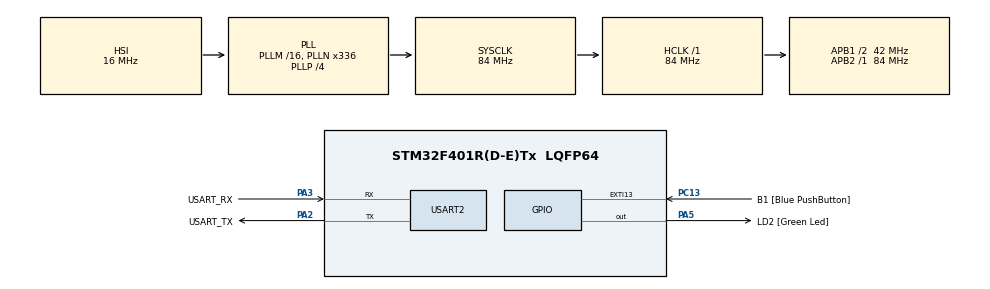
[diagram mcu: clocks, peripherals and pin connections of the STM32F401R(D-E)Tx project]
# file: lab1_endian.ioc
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Mcu.Family=STM32F4
Mcu.Name=STM32F401R(D-E)Tx
Mcu.Package=LQFP64
NVIC.PriorityGroup=NVIC_PRIORITYGROUP_0
PA13.GPIO_Label=TMS
PA13.Mode=Serial_Wire
PA13.Signal=SYS_JTMS-SWDIO
PA14.GPIO_Label=TCK
PA14.Mode=Serial_Wire
PA14.Signal=SYS_JTCK-SWCLK
PA2.GPIO_Label=USART_TX
PA2.GPIO_Mode=GPIO_MODE_AF_PP
PA2.GPIO_PuPd=GPIO_NOPULL
PA2.GPIO_Speed=GPIO_SPEED_FREQ_LOW
PA2.Mode=Asynchronous
PA2.Signal=USART2_TX
PA3.GPIO_Label=USART_RX
PA3.GPIO_Mode=GPIO_MODE_AF_PP
PA3.GPIO_PuPd=GPIO_NOPULL
PA3.GPIO_Speed=GPIO_SPEED_FREQ_LOW
PA3.Mode=Asynchronous
PA3.Signal=USART2_RX
PA5.GPIO_Label=LD2 [Green Led]
PA5.GPIO_Mode=GPIO_MODE_OUTPUT_PP
PA5.GPIO_PuPd=GPIO_NOPULL
PA5.GPIO_Speed=GPIO_SPEED_FREQ_LOW
PA5.Signal=GPIO_Output
PB3.GPIO_Label=SWO
PB3.Signal=SYS_JTDO-SWO
PC13-ANTI_TAMP.GPIO_Label=B1 [Blue PushButton]
PC13-ANTI_TAMP.GPIO_ModeDefaultEXTI=GPIO_MODE_IT_FALLING
PC13-ANTI_TAMP.GPIO_PuPd=GPIO_NOPULL
PC13-ANTI_TAMP.Signal=GPXTI13
PC14-OSC32_IN.Mode=LSE-External-Oscillator
PC14-OSC32_IN.Signal=RCC_OSC32_IN
PC15-OSC32_OUT.Mode=LSE-External-Oscillator
PC15-OSC32_OUT.Signal=RCC_OSC32_OUT
PH0\ -\ OSC_IN.Mode=HSE-External-Clock-Source
PH0\ -\ OSC_IN.Signal=RCC_OSC_IN
PH1\ -\ OSC_OUT.Mode=HSE-External-Clock-Source
PH1\ -\ OSC_OUT.Signal=RCC_OSC_OUT
ProjectManager.HeapSize=0x200
ProjectManager.StackSize=0x400
ProjectManager.TargetToolchain=STM32CubeIDE
RCC.48MHZClocksFreq_Value=48000000
RCC.AHBFreq_Value=84000000
RCC.APB1CLKDivider=RCC_HCLK_DIV2
RCC.APB1Freq_Value=42000000
RCC.APB1TimFreq_Value=84000000
RCC.APB2Freq_Value=84000000
RCC.APB2TimFreq_Value=84000000
RCC.CortexFreq_Value=84000000
RCC.HCLKFreq_Value=84000000
RCC.HSE_VALUE=8000000
RCC.HSI_VALUE=16000000
RCC.PLLN=336
RCC.PLLP=RCC_PLLP_DIV4
RCC.PLLQ=7
RCC.SYSCLKFreq_VALUE=84000000
RCC.SYSCLKSource=RCC_SYSCLKSOURCE_PLLCLK
RCC.VCOOutputFreq_Value=336000000
USART2.VirtualMode=VM_ASYNC
board=NUCLEO-F401RE

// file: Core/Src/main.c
/* USER CODE BEGIN Header */
/**
  ******************************************************************************
  * @file           : main.c
  * @brief          : Main program body
  ******************************************************************************
  * @attention
  *
  * Copyright (c) 2024 STMicroelectronics.
  * All rights reserved.
  *
  * This software is licensed under terms that can be found in the LICENSE file
  * in the root directory of this software component.
  * If no LICENSE file comes with this software, it is provided AS-IS.
  *
  ******************************************************************************
  */
/* USER CODE END Header */
#include "main.h"

UART_HandleTypeDef huart2;

void SystemClock_Config(void);
static void MX_GPIO_Init(void);
static void MX_USART2_UART_Init(void);
void test_endianness();

/* USER CODE BEGIN 0 */
uint32_t arr[10];

void test_endianness()
{
	for(int i = 0; i < 10; i+=2)
	{
		arr[i + 0] = 0xDEADBEEF;
		arr[i + 1] = 0xCAFED00D;
	}

	uint16_t a = arr[0];
	uint16_t b = arr[1];
	uint16_t c = arr[2];

	uint8_t x = arr[0];
	uint8_t y = arr[1];

	uint8_t *arr8 = (uint8_t *) arr;

	uint8_t p = arr8[0];
	uint8_t q = arr8[1];
	uint8_t r = arr8[2];
	uint8_t s = arr8[3];
	uint8_t t = arr8[4];

	uint16_t babe = 0xBABE;
	arr[0] = babe;

	return;
}
/* USER CODE END 0 */

int main(void)
{

  /* MCU Configuration--------------------------------------------------------*/

  /* Reset of all peripherals, Initializes the Flash interface and the Systick. */
  HAL_Init();

  /* Configure the system clock */
  SystemClock_Config();

  /* Initialize all configured peripherals */
  MX_GPIO_Init();
  MX_USART2_UART_Init();

  /* Infinite loop */
  /* USER CODE BEGIN WHILE */

test_endianness();

  while (1)
  {
    /* USER CODE END WHILE */

  }
}

void SystemClock_Config(void)
{
  RCC_OscInitTypeDef RCC_OscInitStruct = {0};
  RCC_ClkInitTypeDef RCC_ClkInitStruct = {0};

  /** Configure the main internal regulator output voltage
  */
  __HAL_RCC_PWR_CLK_ENABLE();
  __HAL_PWR_VOLTAGESCALING_CONFIG(PWR_REGULATOR_VOLTAGE_SCALE2);

  /** Initializes the RCC Oscillators according to the specified parameters
  * in the RCC_OscInitTypeDef structure.
  */
  RCC_OscInitStruct.OscillatorType = RCC_OSCILLATORTYPE_HSI;
  RCC_OscInitStruct.HSIState = RCC_HSI_ON;
  RCC_OscInitStruct.HSICalibrationValue = RCC_HSICALIBRATION_DEFAULT;
  RCC_OscInitStruct.PLL.PLLState = RCC_PLL_ON;
  RCC_OscInitStruct.PLL.PLLSource = RCC_PLLSOURCE_HSI;
  RCC_OscInitStruct.PLL.PLLM = 16;
  RCC_OscInitStruct.PLL.PLLN = 336;
  RCC_OscInitStruct.PLL.PLLP = RCC_PLLP_DIV4;
  RCC_OscInitStruct.PLL.PLLQ = 7;
  if (HAL_RCC_OscConfig(&RCC_OscInitStruct) != HAL_OK)
  {
    Error_Handler();
  }

  /** Initializes the CPU, AHB and APB buses clocks
  */
  RCC_ClkInitStruct.ClockType = RCC_CLOCKTYPE_HCLK|RCC_CLOCKTYPE_SYSCLK
                              |RCC_CLOCKTYPE_PCLK1|RCC_CLOCKTYPE_PCLK2;
  RCC_ClkInitStruct.SYSCLKSource = RCC_SYSCLKSOURCE_PLLCLK;
  RCC_ClkInitStruct.AHBCLKDivider = RCC_SYSCLK_DIV1;
  RCC_ClkInitStruct.APB1CLKDivider = RCC_HCLK_DIV2;
  RCC_ClkInitStruct.APB2CLKDivider = RCC_HCLK_DIV1;

  if (HAL_RCC_ClockConfig(&RCC_ClkInitStruct, FLASH_LATENCY_2) != HAL_OK)
  {
    Error_Handler();
  }
}

static void MX_USART2_UART_Init(void)
{

  huart2.Instance = USART2;
  huart2.Init.BaudRate = 115200;
  huart2.Init.WordLength = UART_WORDLENGTH_8B;
  huart2.Init.StopBits = UART_STOPBITS_1;
  huart2.Init.Parity = UART_PARITY_NONE;
  huart2.Init.Mode = UART_MODE_TX_RX;
  huart2.Init.HwFlowCtl = UART_HWCONTROL_NONE;
  huart2.Init.OverSampling = UART_OVERSAMPLING_16;
  if (HAL_UART_Init(&huart2) != HAL_OK)
  {
    Error_Handler();
  }

}

static void MX_GPIO_Init(void)
{
  GPIO_InitTypeDef GPIO_InitStruct = {0};

  /* GPIO Ports Clock Enable */
  __HAL_RCC_GPIOC_CLK_ENABLE();
  __HAL_RCC_GPIOH_CLK_ENABLE();
  __HAL_RCC_GPIOA_CLK_ENABLE();
  __HAL_RCC_GPIOB_CLK_ENABLE();

  /*Configure GPIO pin Output Level */
  HAL_GPIO_WritePin(LD2_GPIO_Port, LD2_Pin, GPIO_PIN_RESET);

  /*Configure GPIO pin : B1_Pin */
  GPIO_InitStruct.Pin = B1_Pin;
  GPIO_InitStruct.Mode = GPIO_MODE_IT_FALLING;
  GPIO_InitStruct.Pull = GPIO_NOPULL;
  HAL_GPIO_Init(B1_GPIO_Port, &GPIO_InitStruct);

  /*Configure GPIO pin : LD2_Pin */
  GPIO_InitStruct.Pin = LD2_Pin;
  GPIO_InitStruct.Mode = GPIO_MODE_OUTPUT_PP;
  GPIO_InitStruct.Pull = GPIO_NOPULL;
  GPIO_InitStruct.Speed = GPIO_SPEED_FREQ_LOW;
  HAL_GPIO_Init(LD2_GPIO_Port, &GPIO_InitStruct);

}

void Error_Handler(void)
{
  __disable_irq();
  while (1)
  {
  }
}
